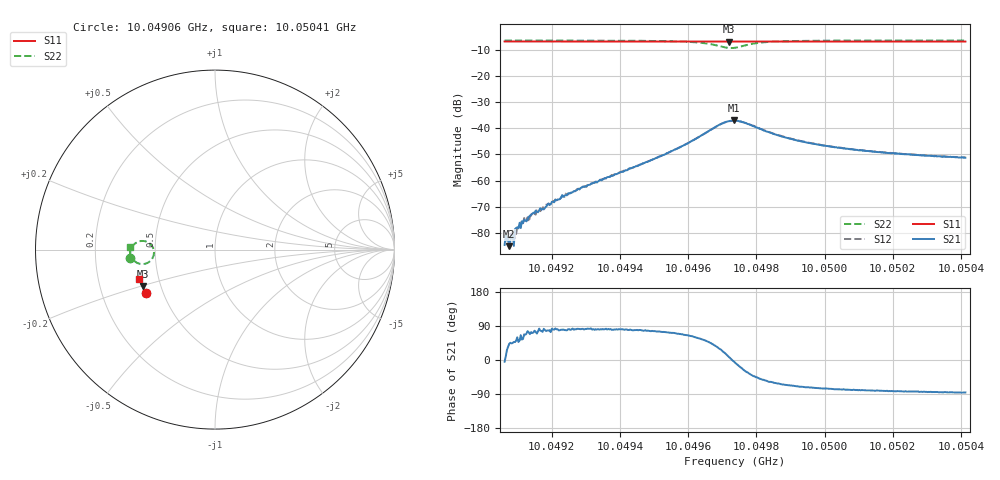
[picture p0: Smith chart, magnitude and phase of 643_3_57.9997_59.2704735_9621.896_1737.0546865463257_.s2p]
#  HZ  S  RI  R  50.00
! Rohde & Schwarz Vector Network Analyzer
! Rohde-Schwarz,ZNB20-2Port,1311601062101988,3.16
! Created: UTC 3/21/2024, 1:19:08 AM
! freq[Hz]  re:S11  im:S11  re:S21  im:S21  re:S12  im:S12  re:S22  im:S22
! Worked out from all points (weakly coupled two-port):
!   401 points, 10.04906 GHz to 10.05041 GHz, reference 50 ohm
!   highest |S21| = -36.98 dB at 10.04973 GHz (marker M1); lowest = -85.0 dB at 10.04908 GHz (marker M2)
!   lowest |S11| = -6.9 dB at 10.04972 GHz (marker M3), VSWR 2.65, Z = 19.8 - j10.1 ohm
!   |S11| at or under -10 dB: nowhere
!   |S22| runs from -9.4 to -6.5 dB; largest |S21 - S12| = 0.0012
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1.0049062e10  -0.3849 -0.2425  5.89e-05 -4.51e-06  7.07e-05 6.02e-05  -0.4732 -0.0449
1.0049076e10  -0.3852 -0.2417  4.13e-05 3.81e-05  6.14e-05 5.2e-05  -0.4734 -0.0436
1.0049086e10  -0.3855 -0.2412  6.81e-05 6.85e-05  6.83e-05 8.57e-05  -0.4735 -0.0426
1.0049099e10  -0.3861 -0.2404  6.45e-05 0.000112  8.12e-05 0.000102  -0.4735 -0.0414
1.004912e10  -0.3867 -0.2391  6.78e-05 0.000167  6.78e-05 0.000182  -0.4737 -0.0398
1.004913e10  -0.387 -0.2386  4.26e-05 0.000174  6.64e-05 0.000189  -0.4734 -0.0388
1.0049147e10  -0.3875 -0.2376  7.35e-05 0.000233  7.95e-05 0.000215  -0.4735 -0.0374
1.0049184e10  -0.3889 -0.2356  7.64e-05 0.000313  6.3e-05 0.000343  -0.4734 -0.0339
1.0049234e10  -0.3903 -0.2325  8.16e-05 0.000484  5.73e-05 0.00051  -0.4732 -0.0289
1.0049288e10  -0.3922 -0.2294  0.000103 0.00073  7.55e-05 0.000744  -0.4729 -0.0232
1.0049515e10  -0.3991 -0.216  0.000728 0.00277  0.000571 0.00281  -0.4641 0.0101
1.0049582e10  -0.4011 -0.212  0.00172 0.00424  0.00144 0.00433  -0.4525 0.0274
1.0049667e10  -0.403 -0.2067  0.00667 0.00658  0.00623 0.00695  -0.4013 0.0483
1.0049721e10  -0.4036 -0.2038  0.0136 0.00178  0.0135 0.00276  -0.3414 -0.00303
1.0049734e10  -0.404 -0.2032  0.0141 -0.00091  0.0141 5.97e-05  -0.3413 -0.0295
1.0049738e10  -0.4041 -0.203  0.0138 -0.00167  0.0141 -0.000621  -0.343 -0.0359
1.0049775e10  -0.4055 -0.2016  0.0101 -0.00654  0.0106 -0.00596  -0.3859 -0.078
1.0049822e10  -0.4072 -0.1989  0.00551 -0.00715  0.006 -0.00703  -0.4321 -0.0748
1.0049889e10  -0.4092 -0.1947  0.00267 -0.00601  0.00305 -0.00589  -0.4582 -0.0536
1.0049964e10  -0.4114 -0.1902  0.00149 -0.00487  0.00181 -0.00484  -0.4678 -0.0361
1.005019e10  -0.4171 -0.1764  0.000475 -0.00334  0.000684 -0.00331  -0.4747 -0.00494
1.0050413e10  -0.4223 -0.1627  0.000208 -0.00273  0.000363 -0.00275  -0.4754 0.016
